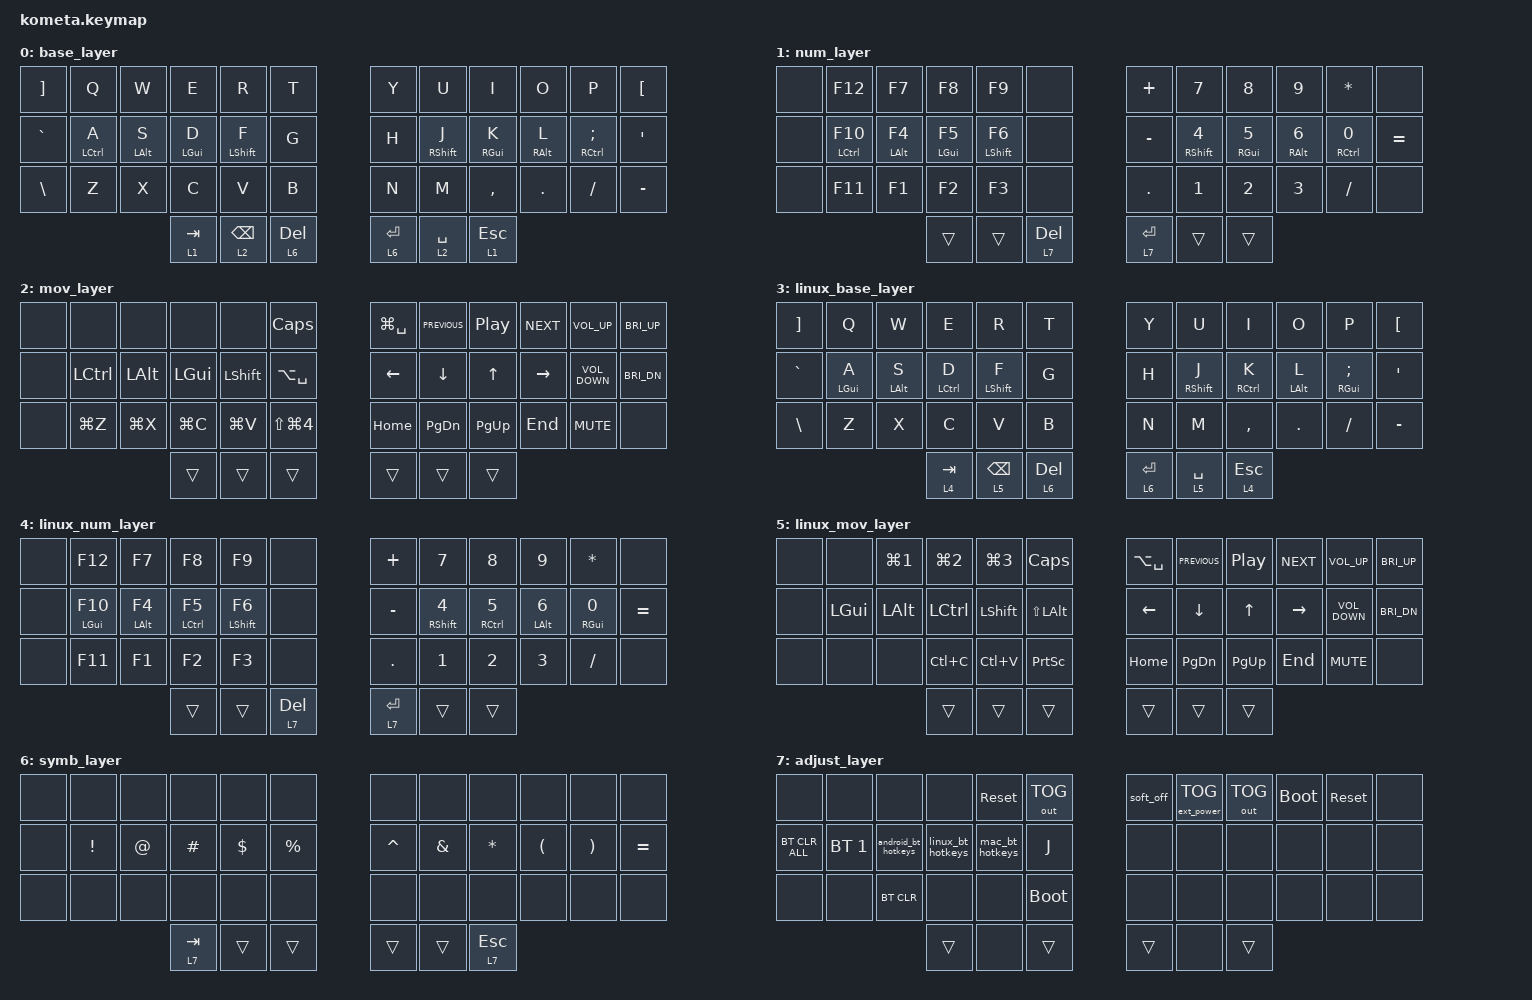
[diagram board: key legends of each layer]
#include <behaviors.dtsi>
#include <dt-bindings/zmk/bt.h>
#include <dt-bindings/zmk/ext_power.h>
#include <dt-bindings/zmk/keys.h>
#include <dt-bindings/zmk/outputs.h>

#define DEF 0
#define LWR 1
#define RSE 2
#define ADJ 3

/ {
};

/ {
    behaviors {
        hr: hr {
            compatible = "zmk,behavior-hold-tap";
            label = "home_row";
            bindings = <&kp>, <&kp>;

            #binding-cells = <2>;
            tapping-term-ms = <200>;
            flavor = "tap-preferred";
            hold-trigger-on-release;
            quick-tap-ms = <0>;
            require-prior-idle-ms = <0>;
        };
    };

    macros {
        linux_bt_hotkeys: linux_bt_hotkeys {
            compatible = "zmk,behavior-macro";
            #binding-cells = <0>;
            bindings = <&bt BT_SEL 3 &to 3>;
            label = "LINUX_BT_HOTKEYS";
        };

        mac_bt_hotkeys: mac_bt_hotkeys {
            compatible = "zmk,behavior-macro";
            #binding-cells = <0>;
            bindings = <&bt BT_SEL 4 &to 0>;
            label = "MAC_BT_HOTKEYS";
        };

        android_bt_hotkeys: android_bt_hotkeys {
            compatible = "zmk,behavior-macro";
            #binding-cells = <0>;
            bindings = <&bt BT_SEL 2 &to 3>;
            label = "ANDROID_BT_HOTKEYS";
        };
    };

    keymap {
        compatible = "zmk,keymap";

        base_layer {
            bindings = <
&kp RIGHT_BRACKET  &kp Q               &kp W           &kp E           &kp R             &kp T         &kp Y        &kp U              &kp I            &kp O            &kp P                        &kp LEFT_BRACKET
&kp GRAVE          &hr LEFT_CONTROL A  &hr LEFT_ALT S  &hr LEFT_GUI D  &hr LEFT_SHIFT F  &kp G         &kp H        &hr RIGHT_SHIFT J  &hr RIGHT_GUI K  &hr RIGHT_ALT L  &hr RIGHT_CONTROL SEMICOLON  &kp SINGLE_QUOTE
&kp BSLH           &kp Z               &kp X           &kp C           &kp V             &kp B         &kp N        &kp M              &kp COMMA        &kp DOT          &kp FSLH                     &kp MINUS
                                                       &lt 1 TAB       &lt 2 BACKSPACE   &lt 6 DELETE  &lt 6 ENTER  &lt 2 SPACE        &lt 1 ESC
            >;
        };

        num_layer {
            bindings = <
&none  &kp F12               &kp F7           &kp F8           &kp F9             &none         &kp PLUS     &kp N7                    &kp N8                  &kp N9                  &kp ASTERISK                &none
&none  &hr LEFT_CONTROL F10  &hr LEFT_ALT F4  &hr LEFT_GUI F5  &hr LEFT_SHIFT F6  &none         &kp MINUS    &hr RIGHT_SHIFT NUMBER_4  &hr RIGHT_GUI NUMBER_5  &hr RIGHT_ALT NUMBER_6  &hr RIGHT_CONTROL NUMBER_0  &kp EQUAL
&none  &kp F11               &kp F1           &kp F2           &kp F3             &none         &kp PERIOD   &kp NUMBER_1              &kp NUMBER_2            &kp NUMBER_3            &kp SLASH                   &none
                                              &trans           &trans             &lt 7 DELETE  &lt 7 ENTER  &trans                    &trans
            >;
        };

        mov_layer {
            bindings = <
&none  &none             &none         &none         &none           &kp CAPS              &kp LG(SPACE)  &kp C_PREVIOUS  &kp C_PLAY_PAUSE  &kp C_NEXT  &kp C_VOLUME_UP    &kp C_BRI_UP
&none  &kp LEFT_CONTROL  &kp LEFT_ALT  &kp LEFT_GUI  &kp LEFT_SHIFT  &kp LA(SPACE)         &kp LEFT       &kp DOWN        &kp UP_ARROW      &kp RIGHT   &kp C_VOLUME_DOWN  &kp C_BRI_DN
&none  &kp LG(Z)         &kp LG(X)     &kp LG(C)     &kp LG(V)       &kp LS(LG(NUMBER_4))  &kp HOME       &kp PAGE_DOWN   &kp PG_UP         &kp END     &kp C_MUTE         &none
                                       &trans        &trans          &trans                &trans         &trans          &trans
            >;
        };

        linux_base_layer {
            bindings = <
&kp RIGHT_BRACKET  &kp Q           &kp W           &kp E               &kp R             &kp T         &kp Y        &kp U              &kp I                &kp O           &kp P                    &kp LEFT_BRACKET
&kp GRAVE          &hr LEFT_GUI A  &hr LEFT_ALT S  &hr LEFT_CONTROL D  &hr LEFT_SHIFT F  &kp G         &kp H        &hr RIGHT_SHIFT J  &hr RIGHT_CONTROL K  &hr LEFT_ALT L  &hr RIGHT_GUI SEMICOLON  &kp SINGLE_QUOTE
&kp BSLH           &kp Z           &kp X           &kp C               &kp V             &kp B         &kp N        &kp M              &kp COMMA            &kp DOT         &kp FSLH                 &kp MINUS
                                                   &lt 4 TAB           &lt 5 BACKSPACE   &lt 6 DELETE  &lt 6 ENTER  &lt 5 SPACE        &lt 4 ESC
            >;
        };

        linux_num_layer {
            bindings = <
&none  &kp F12           &kp F7           &kp F8               &kp F9             &none         &kp PLUS     &kp N7                    &kp N8                      &kp N9                 &kp ASTERISK            &none
&none  &hr LEFT_GUI F10  &hr LEFT_ALT F4  &hr LEFT_CONTROL F5  &hr LEFT_SHIFT F6  &none         &kp MINUS    &hr RIGHT_SHIFT NUMBER_4  &hr RIGHT_CONTROL NUMBER_5  &hr LEFT_ALT NUMBER_6  &hr RIGHT_GUI NUMBER_0  &kp EQUAL
&none  &kp F11           &kp F1           &kp F2               &kp F3             &none         &kp PERIOD   &kp NUMBER_1              &kp NUMBER_2                &kp NUMBER_3           &kp SLASH               &none
                                          &trans               &trans             &lt 7 DELETE  &lt 7 ENTER  &trans                    &trans
            >;
        };

        linux_mov_layer {
            bindings = <
&none  &none         &kp LG(NUMBER_1)  &kp LG(NUMBER_2)  &kp LG(NUMBER_3)  &kp CAPS          &kp LA(SPACE)  &kp C_PREVIOUS  &kp C_PLAY_PAUSE  &kp C_NEXT  &kp C_VOLUME_UP    &kp C_BRI_UP
&none  &kp LEFT_GUI  &kp LEFT_ALT      &kp LEFT_CONTROL  &kp LEFT_SHIFT    &kp LS(LEFT_ALT)  &kp LEFT       &kp DOWN        &kp UP_ARROW      &kp RIGHT   &kp C_VOLUME_DOWN  &kp C_BRI_DN
&none  &none         &none             &kp LC(C)         &kp LC(V)         &kp PRINTSCREEN   &kp HOME       &kp PAGE_DOWN   &kp PG_UP         &kp END     &kp C_MUTE         &none
                                       &trans            &trans            &trans            &trans         &trans          &trans
            >;
        };

        symb_layer {
            bindings = <
&none  &none            &none        &none      &none       &none        &none      &none          &none         &none                 &none                  &none
&none  &kp EXCLAMATION  &kp AT_SIGN  &kp HASH   &kp DOLLAR  &kp PERCENT  &kp CARET  &kp AMPERSAND  &kp ASTERISK  &kp LEFT_PARENTHESIS  &kp RIGHT_PARENTHESIS  &kp EQUAL
&none  &none            &none        &none      &none       &none        &none      &none          &none         &none                 &none                  &none
                                     &lt 7 TAB  &trans      &trans       &trans     &trans         &lt 7 ESCAPE
            >;
        };

        adjust_layer {
            bindings = <
&none           &none         &none                &none              &sys_reset       &out OUT_TOG  &soft_off  &ext_power EP_TOG  &out OUT_TOG  &bootloader  &sys_reset  &none
&bt BT_CLR_ALL  &bt BT_SEL 1  &android_bt_hotkeys  &linux_bt_hotkeys  &mac_bt_hotkeys  &kp J         &none      &none              &none         &none        &none       &none
&none           &none         &bt BT_CLR           &none              &none            &bootloader   &none      &none              &none         &none        &none       &none
                                                   &trans             &none            &trans        &trans     &none              &trans
            >;
        };
    };
};
